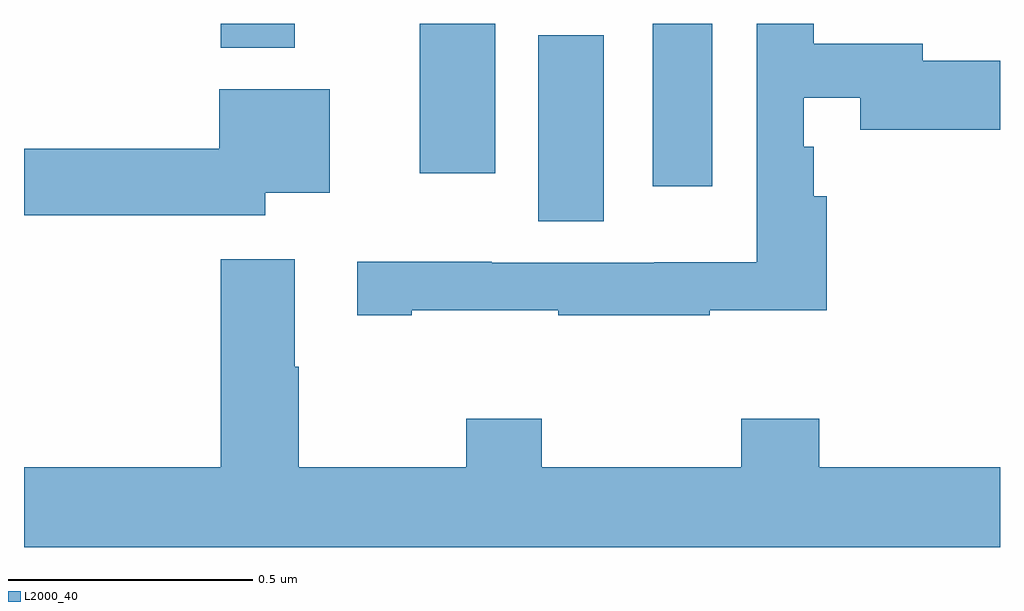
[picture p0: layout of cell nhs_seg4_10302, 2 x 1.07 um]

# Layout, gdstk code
import gdstk
lib = gdstk.Library(unit=1e-6, precision=1e-09)
def R(c, l, rs):  # rectangles x0, y0, x1, y1
    for r in rs: c.add(gdstk.rectangle(r[:2], r[2:], *l))
def P(c, l, *ps):  # polygons
    for p in ps: c.add(gdstk.Polygon(p, *l))
L2000_40 = (2000, 40)

nhs_seg4_10302 = lib.new_cell('nhs_seg4_10302')
R(nhs_seg4_10302, L2000_40, [(239.054,789.496,239.188,789.877), (239.288,789.567,239.41,789.9), (238.811,789.594,238.966,789.9), (238.403,789.851,238.555,789.9)])
P(nhs_seg4_10302, L2000_40, [(238.795,789.313),(239.095,789.313),(239.095,789.303),(239.405,789.303),(239.405,789.313),(239.645,789.313),(239.645,789.547),(239.618,789.547),(239.618,789.648),(239.598,789.648),(239.598,789.749),(239.714,789.749),(239.714,789.683),(240,789.683),(240,789.825),(239.842,789.825),(239.842,789.859),(239.618,789.859),(239.618,789.9),(239.502,789.9),(239.502,789.412),(239.292,789.412),(239.292,789.411),(238.958,789.411),(238.958,789.413),(238.683,789.413),(238.683,789.303),(238.795,789.303)],
  [(238.494,789.554),(238.627,789.554),(238.627,789.766),(238.4,789.766),(238.4,789.644),(238,789.644),(238,789.508),(238.494,789.508)],
  [(240,788.992),(239.63,788.992),(239.63,789.091),(239.47,789.091),(239.47,788.992),(239.061,788.992),(239.061,789.091),(238.906,789.091),(238.906,788.992),(238.563,788.992),(238.563,789.197),(238.555,789.197),(238.555,789.418),(238.403,789.418),(238.403,788.992),(238,788.992),(238,788.828),(240,788.828)])

lib.write_gds('nhs_seg4_10302.gds')
